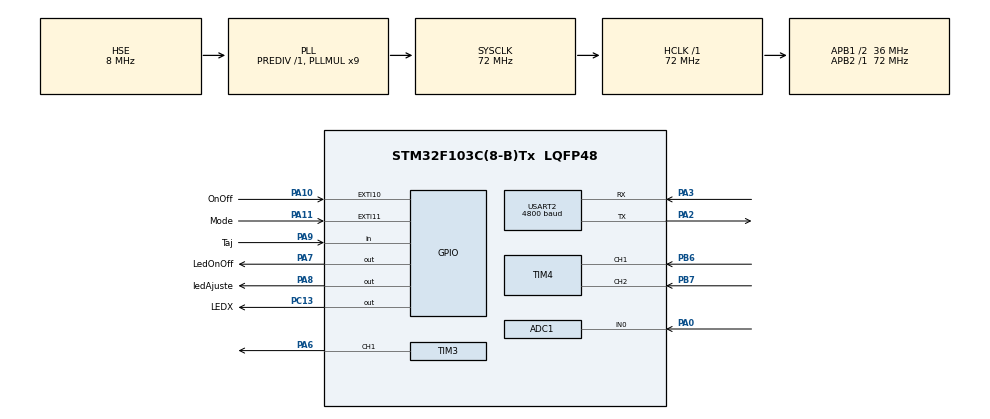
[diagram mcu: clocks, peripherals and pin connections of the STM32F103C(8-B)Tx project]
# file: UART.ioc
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ADC1.Channel-0\#ChannelRegularConversion=ADC_CHANNEL_0
ADC1.ExternalTrigConv=ADC_EXTERNALTRIGCONV_T2_CC2
ADC1.NbrOfConversionFlag=1
ADC1.Rank-0\#ChannelRegularConversion=1
ADC1.SamplingTime-0\#ChannelRegularConversion=ADC_SAMPLETIME_13CYCLES_5
ADC1.master=1
Mcu.Family=STM32F1
Mcu.Name=STM32F103C(8-B)Tx
Mcu.Package=LQFP48
NVIC.ADC1_2_IRQn=true\:0\:0\:false\:false\:true\:true\:true\:true
NVIC.EXTI15_10_IRQn=true\:0\:0\:false\:false\:true\:true\:true\:true
NVIC.PriorityGroup=NVIC_PRIORITYGROUP_4
NVIC.TIM1_UP_IRQn=true\:15\:0\:false\:false\:true\:false\:true\:true
NVIC.TimeBase=TIM1_UP_IRQn
NVIC.TimeBaseIP=TIM1
PA0-WKUP.Signal=ADCx_IN0
PA10.GPIO_Label=OnOff
PA10.GPIO_PuPd=GPIO_PULLDOWN
PA10.Signal=GPXTI10
PA11.GPIO_Label=Mode
PA11.GPIO_PuPd=GPIO_PULLDOWN
PA11.Signal=GPXTI11
PA13.Mode=Serial_Wire
PA13.Signal=SYS_JTMS-SWDIO
PA14.Mode=Serial_Wire
PA14.Signal=SYS_JTCK-SWCLK
PA2.Mode=Asynchronous
PA2.Signal=USART2_TX
PA3.Mode=Asynchronous
PA3.Signal=USART2_RX
PA6.Signal=S_TIM3_CH1
PA7.GPIO_Label=LedOnOff
PA7.GPIO_PuPd=GPIO_PULLDOWN
PA7.Signal=GPIO_Output
PA8.GPIO_Label=ledAjuste
PA8.GPIO_PuPd=GPIO_PULLDOWN
PA8.Signal=GPIO_Output
PA9.GPIO_Label=Taj
PA9.GPIO_PuPd=GPIO_PULLDOWN
PA9.Signal=GPIO_Input
PB6.Signal=S_TIM4_CH1
PB7.Signal=S_TIM4_CH2
PC13-TAMPER-RTC.GPIO_Label=LEDX
PC13-TAMPER-RTC.Signal=GPIO_Output
PC14-OSC32_IN.Mode=LSE-External-Oscillator
PC14-OSC32_IN.Signal=RCC_OSC32_IN
PC15-OSC32_OUT.Mode=LSE-External-Oscillator
PC15-OSC32_OUT.Signal=RCC_OSC32_OUT
PD0-OSC_IN.Mode=HSE-External-Oscillator
PD0-OSC_IN.Signal=RCC_OSC_IN
PD1-OSC_OUT.Mode=HSE-External-Oscillator
PD1-OSC_OUT.Signal=RCC_OSC_OUT
ProjectManager.HeapSize=0x200
ProjectManager.StackSize=0x400
ProjectManager.TargetToolchain=STM32CubeIDE
RCC.ADCPresc=RCC_ADCPCLK2_DIV6
RCC.AHBFreq_Value=72000000
RCC.APB1CLKDivider=RCC_HCLK_DIV2
RCC.APB1Freq_Value=36000000
RCC.APB1TimFreq_Value=72000000
RCC.APB2Freq_Value=72000000
RCC.APB2TimFreq_Value=72000000
RCC.HCLKFreq_Value=72000000
RCC.PLLMUL=RCC_PLL_MUL9
RCC.PLLSourceVirtual=RCC_PLLSOURCE_HSE
RCC.SYSCLKFreq_VALUE=72000000
RCC.SYSCLKSource=RCC_SYSCLKSOURCE_PLLCLK
RCC.USBFreq_Value=72000000
SH.ADCx_IN0.0=ADC1_IN0,IN0
SH.S_TIM3_CH1.0=TIM3_CH1,PWM Generation1 CH1
SH.S_TIM4_CH1.0=TIM4_CH1,Encoder_Interface
SH.S_TIM4_CH2.0=TIM4_CH2,Encoder_Interface
TIM2.Period=3333
TIM2.Prescaler=7200
TIM3.Channel-PWM\ Generation1\ CH1=TIM_CHANNEL_1
TIM3.Period=9999
TIM3.Prescaler=72
TIM3.Pulse-PWM\ Generation1\ CH1=0
TIM4.AutoReloadPreload=TIM_AUTORELOAD_PRELOAD_ENABLE
TIM4.EncoderMode=TIM_ENCODERMODE_TI12
TIM4.IC1Filter=10
USART2.BaudRate=4800
USART2.VirtualMode=VM_ASYNC
VP_CRC_VS_CRC.Mode=CRC_Activate
VP_SYS_VS_tim1.Mode=TIM1
VP_TIM2_VS_ClockSourceINT.Mode=Internal
VP_TIM3_VS_ClockSourceINT.Mode=Internal
board=custom

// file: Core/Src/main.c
/* USER CODE BEGIN Header */
/**
  ******************************************************************************
  * @file           : main.c
  * @brief          : Main program body
  ******************************************************************************
  * @attention
  *
  * Copyright (c) 2024 STMicroelectronics.
  * All rights reserved.
  *
  * This software is licensed under terms that can be found in the LICENSE file
  * in the root directory of this software component.
  * If no LICENSE file comes with this software, it is provided AS-IS.
  *
  ******************************************************************************
  */
/* USER CODE END Header */
#include "main.h"
#include <string.h>
#include <stdio.h>

/* USER CODE BEGIN Includes */
char buffer[64] = {0};
uint8_t count = 0;
float temperatureMeasured = 0.0;
float temperatureAdjusted = 30.0;
float hysteresis = 1.5;
int adjustmentMode = 0;
int systemOn = 0;
volatile uint8_t lastDTState = 0;
volatile int8_t encoderValue = 0;
int counter = 0;
float dutyCycle =0;
int controlador = 0;
float x =0;
uint32_t adcValue = 0;

// debounce
uint32_t previousMillis = 0;
uint32_t currentMillis = 0;
/* USER CODE END Includes */

ADC_HandleTypeDef hadc1;

CRC_HandleTypeDef hcrc;

TIM_HandleTypeDef htim2;
TIM_HandleTypeDef htim3;
TIM_HandleTypeDef htim4;

UART_HandleTypeDef huart2;

void SystemClock_Config(void);
static void MX_GPIO_Init(void);
static void MX_CRC_Init(void);
static void MX_USART2_UART_Init(void);
static void MX_ADC1_Init(void);
static void MX_TIM2_Init(void);
static void MX_TIM3_Init(void);
static void MX_TIM4_Init(void);

/* USER CODE BEGIN 0 */
void uprintf(char *str){
	 HAL_UART_Transmit(&huart2, (uint8_t *)str, strlen(str), 100);
}

void toggleSystemOnOff() {
    // Implement the logic to toggle the system on and off;
	systemOn = !systemOn;
    if (systemOn) {
        // Turn on system
        HAL_GPIO_WritePin(GPIOA, GPIO_PIN_7, GPIO_PIN_SET); // Example LED ON
    } else {
        // Turn off system
        HAL_GPIO_WritePin(GPIOA, GPIO_PIN_7, GPIO_PIN_RESET); // Example LED OFF
    }
}

void readTemperature() {
	uint32_t soma = 0;
    HAL_ADC_Start(&hadc1);
    for(int i = 0; i < 8; i++){
    	HAL_ADC_PollForConversion(&hadc1,100);
        adcValue = HAL_ADC_GetValue(&hadc1);
        soma += adcValue;
    }
    adcValue = soma/8;
        float voltage = (adcValue / 4095.0); // ADC de 12 bits, Vref = 2.5V
        temperatureMeasured = (voltage) * 50.0; // Escala de 0 a 50ºC

    HAL_ADC_Stop(&hadc1);
}

void updatePWM() {

    if (systemOn) {
        if (temperatureMeasured < (temperatureAdjusted - hysteresis)) {

        	 x = (temperatureAdjusted-temperatureMeasured)/45;

            __HAL_TIM_SET_COMPARE(&htim3, TIM_CHANNEL_1, x*10000);
            controlador = 0;

        } else if (temperatureMeasured > (temperatureAdjusted + hysteresis)) {
        		x=0;
            __HAL_TIM_SET_COMPARE(&htim3, TIM_CHANNEL_1, x);
        } else {

            if(controlador == 0){
            	__HAL_TIM_SET_COMPARE(&htim3, TIM_CHANNEL_1, x*10000);
            	controlador = 1;
            }

        }
    } else {
        __HAL_TIM_SET_COMPARE(&htim3, TIM_CHANNEL_1, 0);
    }
}

void encoderPushButtonHandler() {
    adjustmentMode = !adjustmentMode;
    if (adjustmentMode) {
        HAL_GPIO_WritePin(GPIOA, ledAjuste_Pin, GPIO_PIN_SET);
    } else {
        HAL_GPIO_WritePin(GPIOA, ledAjuste_Pin, GPIO_PIN_RESET);
    }
}
void encoderRotationHandler(void) {
    static int32_t lastCounterValue = 0;
    int32_t currentCounterValue = (int32_t)__HAL_TIM_GET_COUNTER(&htim4);
    int32_t difference = currentCounterValue - lastCounterValue;

    if (adjustmentMode) {
        if (difference > 0) {
        	temperatureAdjusted++;
        } else if (difference < 0) {
        	temperatureAdjusted--;
        }

        // Ensure temperatureTAJ stays within a valid range
        if (temperatureAdjusted < 30) temperatureAdjusted = 30;
        if (temperatureAdjusted > 45) temperatureAdjusted = 45;

        // Update the last counter value
        lastCounterValue = currentCounterValue;
    }

}

void HAL_GPIO_EXTI_Callback(uint16_t GPIO_Pin) {
	// pega o tempo atual do sistema
	currentMillis = HAL_GetTick();
	if(currentMillis - previousMillis > 500){

		if (GPIO_Pin == OnOff_Pin ) {
			toggleSystemOnOff();
		} else if (GPIO_Pin == Mode_Pin) {
			encoderPushButtonHandler();
		}
		previousMillis = currentMillis;
	}
}

/* USER CODE END 0 */

int main(void)
{

  /* MCU Configuration--------------------------------------------------------*/

  /* Reset of all peripherals, Initializes the Flash interface and the Systick. */
  HAL_Init();

  /* Configure the system clock */
  SystemClock_Config();

  /* Initialize all configured peripherals */
  MX_GPIO_Init();
  MX_CRC_Init();
  MX_USART2_UART_Init();
  MX_ADC1_Init();
  MX_TIM2_Init();
  MX_TIM3_Init();
  MX_TIM4_Init();
  /* USER CODE BEGIN 2 */
  HAL_TIM_PWM_Start(&htim2, TIM_CHANNEL_2);// Gera pwm para o adc
  HAL_ADCEx_Calibration_Start(&hadc1); // Calibra o adc antes de iniciar
  HAL_ADC_Start_IT(&hadc1); //inicia adc
  HAL_TIM_PWM_Start(&htim3, TIM_CHANNEL_1); // Inicia PWM para o aquecedor
  HAL_TIM_Encoder_Start(&htim4, TIM_CHANNEL_ALL);
  /* USER CODE END 2 */

  /* Infinite loop */
  /* USER CODE BEGIN WHILE */
  while (1)
  {
    	readTemperature();
	    updatePWM();
	    encoderRotationHandler();
	    //__HAL_TIM_SET_COMPARE(&htim3,TIM_CHANNEL_1, temperatureMeasured*100);

	    sprintf(buffer, "TM: %.2f, TAJ: %.2f, ST: %d, MD: %d, RC: %.2f \n", temperatureMeasured, temperatureAdjusted, systemOn, adjustmentMode, x);
	    uprintf(buffer);

	    HAL_GPIO_TogglePin(LEDX_GPIO_Port, LEDX_Pin);
	    HAL_Delay(500);
	    /* USER CODE END WHILE*/

  }
}

void SystemClock_Config(void)
{
  RCC_OscInitTypeDef RCC_OscInitStruct = {0};
  RCC_ClkInitTypeDef RCC_ClkInitStruct = {0};
  RCC_PeriphCLKInitTypeDef PeriphClkInit = {0};

  /** Initializes the RCC Oscillators according to the specified parameters
  * in the RCC_OscInitTypeDef structure.
  */
  RCC_OscInitStruct.OscillatorType = RCC_OSCILLATORTYPE_HSE;
  RCC_OscInitStruct.HSEState = RCC_HSE_ON;
  RCC_OscInitStruct.HSEPredivValue = RCC_HSE_PREDIV_DIV1;
  RCC_OscInitStruct.HSIState = RCC_HSI_ON;
  RCC_OscInitStruct.PLL.PLLState = RCC_PLL_ON;
  RCC_OscInitStruct.PLL.PLLSource = RCC_PLLSOURCE_HSE;
  RCC_OscInitStruct.PLL.PLLMUL = RCC_PLL_MUL9;
  if (HAL_RCC_OscConfig(&RCC_OscInitStruct) != HAL_OK)
  {
    Error_Handler();
  }

  /** Initializes the CPU, AHB and APB buses clocks
  */
  RCC_ClkInitStruct.ClockType = RCC_CLOCKTYPE_HCLK|RCC_CLOCKTYPE_SYSCLK
                              |RCC_CLOCKTYPE_PCLK1|RCC_CLOCKTYPE_PCLK2;
  RCC_ClkInitStruct.SYSCLKSource = RCC_SYSCLKSOURCE_PLLCLK;
  RCC_ClkInitStruct.AHBCLKDivider = RCC_SYSCLK_DIV1;
  RCC_ClkInitStruct.APB1CLKDivider = RCC_HCLK_DIV2;
  RCC_ClkInitStruct.APB2CLKDivider = RCC_HCLK_DIV1;

  if (HAL_RCC_ClockConfig(&RCC_ClkInitStruct, FLASH_LATENCY_2) != HAL_OK)
  {
    Error_Handler();
  }
  PeriphClkInit.PeriphClockSelection = RCC_PERIPHCLK_ADC;
  PeriphClkInit.AdcClockSelection = RCC_ADCPCLK2_DIV6;
  if (HAL_RCCEx_PeriphCLKConfig(&PeriphClkInit) != HAL_OK)
  {
    Error_Handler();
  }
}

static void MX_ADC1_Init(void)
{

  ADC_ChannelConfTypeDef sConfig = {0};

  /** Common config
  */
  hadc1.Instance = ADC1;
  hadc1.Init.ScanConvMode = ADC_SCAN_DISABLE;
  hadc1.Init.ContinuousConvMode = DISABLE;
  hadc1.Init.DiscontinuousConvMode = DISABLE;
  hadc1.Init.ExternalTrigConv = ADC_EXTERNALTRIGCONV_T2_CC2;
  hadc1.Init.DataAlign = ADC_DATAALIGN_RIGHT;
  hadc1.Init.NbrOfConversion = 1;
  if (HAL_ADC_Init(&hadc1) != HAL_OK)
  {
    Error_Handler();
  }

  /** Configure Regular Channel
  */
  sConfig.Channel = ADC_CHANNEL_0;
  sConfig.Rank = ADC_REGULAR_RANK_1;
  sConfig.SamplingTime = ADC_SAMPLETIME_13CYCLES_5;
  if (HAL_ADC_ConfigChannel(&hadc1, &sConfig) != HAL_OK)
  {
    Error_Handler();
  }

}

static void MX_CRC_Init(void)
{

  hcrc.Instance = CRC;
  if (HAL_CRC_Init(&hcrc) != HAL_OK)
  {
    Error_Handler();
  }

}

static void MX_TIM2_Init(void)
{

  TIM_ClockConfigTypeDef sClockSourceConfig = {0};
  TIM_MasterConfigTypeDef sMasterConfig = {0};

  htim2.Instance = TIM2;
  htim2.Init.Prescaler = 7200;
  htim2.Init.CounterMode = TIM_COUNTERMODE_UP;
  htim2.Init.Period = 3333;
  htim2.Init.ClockDivision = TIM_CLOCKDIVISION_DIV1;
  htim2.Init.AutoReloadPreload = TIM_AUTORELOAD_PRELOAD_DISABLE;
  if (HAL_TIM_Base_Init(&htim2) != HAL_OK)
  {
    Error_Handler();
  }
  sClockSourceConfig.ClockSource = TIM_CLOCKSOURCE_INTERNAL;
  if (HAL_TIM_ConfigClockSource(&htim2, &sClockSourceConfig) != HAL_OK)
  {
    Error_Handler();
  }
  sMasterConfig.MasterOutputTrigger = TIM_TRGO_RESET;
  sMasterConfig.MasterSlaveMode = TIM_MASTERSLAVEMODE_DISABLE;
  if (HAL_TIMEx_MasterConfigSynchronization(&htim2, &sMasterConfig) != HAL_OK)
  {
    Error_Handler();
  }

}

static void MX_TIM3_Init(void)
{

  TIM_ClockConfigTypeDef sClockSourceConfig = {0};
  TIM_MasterConfigTypeDef sMasterConfig = {0};
  TIM_OC_InitTypeDef sConfigOC = {0};

  htim3.Instance = TIM3;
  htim3.Init.Prescaler = 72;
  htim3.Init.CounterMode = TIM_COUNTERMODE_UP;
  htim3.Init.Period = 9999;
  htim3.Init.ClockDivision = TIM_CLOCKDIVISION_DIV1;
  htim3.Init.AutoReloadPreload = TIM_AUTORELOAD_PRELOAD_DISABLE;
  if (HAL_TIM_Base_Init(&htim3) != HAL_OK)
  {
    Error_Handler();
  }
  sClockSourceConfig.ClockSource = TIM_CLOCKSOURCE_INTERNAL;
  if (HAL_TIM_ConfigClockSource(&htim3, &sClockSourceConfig) != HAL_OK)
  {
    Error_Handler();
  }
  if (HAL_TIM_PWM_Init(&htim3) != HAL_OK)
  {
    Error_Handler();
  }
  sMasterConfig.MasterOutputTrigger = TIM_TRGO_RESET;
  sMasterConfig.MasterSlaveMode = TIM_MASTERSLAVEMODE_DISABLE;
  if (HAL_TIMEx_MasterConfigSynchronization(&htim3, &sMasterConfig) != HAL_OK)
  {
    Error_Handler();
  }
  sConfigOC.OCMode = TIM_OCMODE_PWM1;
  sConfigOC.Pulse = 0;
  sConfigOC.OCPolarity = TIM_OCPOLARITY_HIGH;
  sConfigOC.OCFastMode = TIM_OCFAST_DISABLE;
  if (HAL_TIM_PWM_ConfigChannel(&htim3, &sConfigOC, TIM_CHANNEL_1) != HAL_OK)
  {
    Error_Handler();
  }
  HAL_TIM_MspPostInit(&htim3);

}

static void MX_TIM4_Init(void)
{

  TIM_Encoder_InitTypeDef sConfig = {0};
  TIM_MasterConfigTypeDef sMasterConfig = {0};

  htim4.Instance = TIM4;
  htim4.Init.Prescaler = 0;
  htim4.Init.CounterMode = TIM_COUNTERMODE_UP;
  htim4.Init.Period = 65535;
  htim4.Init.ClockDivision = TIM_CLOCKDIVISION_DIV1;
  htim4.Init.AutoReloadPreload = TIM_AUTORELOAD_PRELOAD_ENABLE;
  sConfig.EncoderMode = TIM_ENCODERMODE_TI12;
  sConfig.IC1Polarity = TIM_ICPOLARITY_RISING;
  sConfig.IC1Selection = TIM_ICSELECTION_DIRECTTI;
  sConfig.IC1Prescaler = TIM_ICPSC_DIV1;
  sConfig.IC1Filter = 10;
  sConfig.IC2Polarity = TIM_ICPOLARITY_RISING;
  sConfig.IC2Selection = TIM_ICSELECTION_DIRECTTI;
  sConfig.IC2Prescaler = TIM_ICPSC_DIV1;
  sConfig.IC2Filter = 0;
  if (HAL_TIM_Encoder_Init(&htim4, &sConfig) != HAL_OK)
  {
    Error_Handler();
  }
  sMasterConfig.MasterOutputTrigger = TIM_TRGO_RESET;
  sMasterConfig.MasterSlaveMode = TIM_MASTERSLAVEMODE_DISABLE;
  if (HAL_TIMEx_MasterConfigSynchronization(&htim4, &sMasterConfig) != HAL_OK)
  {
    Error_Handler();
  }

}

static void MX_USART2_UART_Init(void)
{

  huart2.Instance = USART2;
  huart2.Init.BaudRate = 4800;
  huart2.Init.WordLength = UART_WORDLENGTH_8B;
  huart2.Init.StopBits = UART_STOPBITS_1;
  huart2.Init.Parity = UART_PARITY_NONE;
  huart2.Init.Mode = UART_MODE_TX_RX;
  huart2.Init.HwFlowCtl = UART_HWCONTROL_NONE;
  huart2.Init.OverSampling = UART_OVERSAMPLING_16;
  if (HAL_UART_Init(&huart2) != HAL_OK)
  {
    Error_Handler();
  }

}

static void MX_GPIO_Init(void)
{
  GPIO_InitTypeDef GPIO_InitStruct = {0};

  /* GPIO Ports Clock Enable */
  __HAL_RCC_GPIOC_CLK_ENABLE();
  __HAL_RCC_GPIOD_CLK_ENABLE();
  __HAL_RCC_GPIOA_CLK_ENABLE();
  __HAL_RCC_GPIOB_CLK_ENABLE();

  /*Configure GPIO pin Output Level */
  HAL_GPIO_WritePin(LEDX_GPIO_Port, LEDX_Pin, GPIO_PIN_RESET);

  /*Configure GPIO pin Output Level */
  HAL_GPIO_WritePin(GPIOA, LedOnOff_Pin|ledAjuste_Pin, GPIO_PIN_RESET);

  /*Configure GPIO pin : LEDX_Pin */
  GPIO_InitStruct.Pin = LEDX_Pin;
  GPIO_InitStruct.Mode = GPIO_MODE_OUTPUT_PP;
  GPIO_InitStruct.Pull = GPIO_NOPULL;
  GPIO_InitStruct.Speed = GPIO_SPEED_FREQ_LOW;
  HAL_GPIO_Init(LEDX_GPIO_Port, &GPIO_InitStruct);

  /*Configure GPIO pins : LedOnOff_Pin ledAjuste_Pin */
  GPIO_InitStruct.Pin = LedOnOff_Pin|ledAjuste_Pin;
  GPIO_InitStruct.Mode = GPIO_MODE_OUTPUT_PP;
  GPIO_InitStruct.Pull = GPIO_PULLDOWN;
  GPIO_InitStruct.Speed = GPIO_SPEED_FREQ_LOW;
  HAL_GPIO_Init(GPIOA, &GPIO_InitStruct);

  /*Configure GPIO pin : Taj_Pin */
  GPIO_InitStruct.Pin = Taj_Pin;
  GPIO_InitStruct.Mode = GPIO_MODE_INPUT;
  GPIO_InitStruct.Pull = GPIO_PULLDOWN;
  HAL_GPIO_Init(Taj_GPIO_Port, &GPIO_InitStruct);

  /*Configure GPIO pins : OnOff_Pin Mode_Pin */
  GPIO_InitStruct.Pin = OnOff_Pin|Mode_Pin;
  GPIO_InitStruct.Mode = GPIO_MODE_IT_RISING;
  GPIO_InitStruct.Pull = GPIO_PULLDOWN;
  HAL_GPIO_Init(GPIOA, &GPIO_InitStruct);

  /* EXTI interrupt init*/
  HAL_NVIC_SetPriority(EXTI15_10_IRQn, 0, 0);
  HAL_NVIC_EnableIRQ(EXTI15_10_IRQn);

}

void HAL_TIM_PeriodElapsedCallback(TIM_HandleTypeDef *htim)
{
  if (htim->Instance == TIM1) {
    HAL_IncTick();
  }
}

void Error_Handler(void)
{
  __disable_irq();
  while (1)
  {
  }
}
